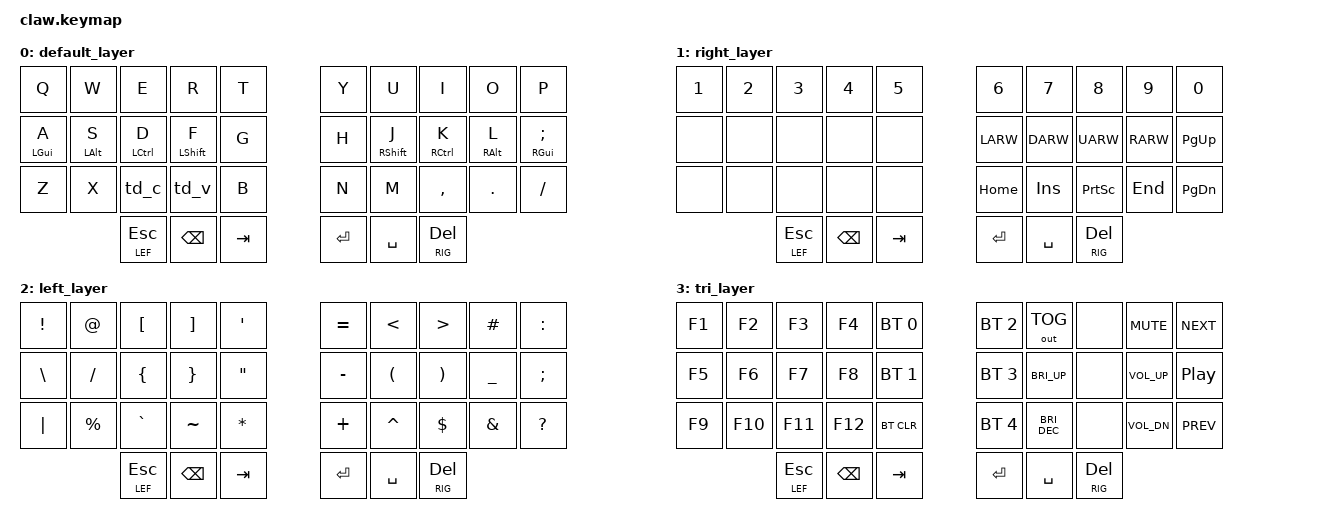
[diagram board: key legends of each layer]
#include <behaviors.dtsi>
#include <dt-bindings/zmk/keys.h>
#include <dt-bindings/zmk/bt.h>
#include <dt-bindings/zmk/outputs.h>

// Home row mods macro
#define HRMR(k1, k2, k3, k4) &mt RSHIFT k1  &mt RCTRL k2  &mt RALT k3 &mt RGUI k4

#define MAC 0
#define RIG 1
#define LEF 2
#define TRI 3

/ {
        macros {
                ma_c: ma_c {
                        #label = "MACRO_C";
                        compatible = "zmk,behavior-macro";
                        #binding-cells = <0>;
                        bindings
                            = <&macro_press &kp LCTRL>
                            , <&macro_tap &kp C>
                            , <&macro_release &kp LCTRL>
                            ;
                };
                ma_v: ma_v {
                        #label = "MACRO_V";
                        compatible = "zmk,behavior-macro";
                        #binding-cells = <0>;
                        bindings
                            = <&macro_press &kp LCTRL>
                            , <&macro_tap &kp V>
                            , <&macro_release &kp LCTRL>
                            ;
                };
	};

	behaviors {
		ht: hold_tap_balanced {
			    compatible = "zmk,behavior-hold-tap";
			    #label = "HOLD_TAP_BAL";
			    #binding-cells = <2>;
			    flavor = "tap-preferred";
			    tapping-term-ms = <200>;
			    quick-tap-ms = <100>;
			    #require-prior-idle-ms = <50>;
			    bindings = <&kp>, <&kp>;
			};
		td_c: tap_dance_c {
			    compatible = "zmk,behavior-tap-dance";
			    #binding-cells = <0>;
			    tapping-term-ms = <200>;
			    bindings = <&kp C>, <&kp C>, <&ma_c>;
			};
		td_v: tap_dance_v {
			    compatible = "zmk,behavior-tap-dance";
			    #binding-cells = <0>;
			    tapping-term-ms = <200>;
			    bindings = <&kp V>, <&kp V>, <&ma_v>;
			};
	};

	conditional_layers {
		compatible = "zmk,conditional-layers";
		tri_layer {
			if-layers = <RIG LEF>;
			then-layer = <TRI>;
		};
	};

	keymap {
		compatible = "zmk,keymap";
		default_layer {
			bindings = <
				//╭────────────────┬────────────────┬────────────────┬────────────────┬────────────────╮   ╭────────────────┬────────────────┬────────────────┬────────────────┬────────────────╮
				//│        Q       │        W       │        E       │        R       │        T       │   │        Y       │        U       │        I       │        O       │        P       │
				       &kp Q            &kp W            &kp E            &kp R            &kp T                &kp Y              &kp U            &kp I            &kp O            &kp P
				//├────────────────┼────────────────┼────────────────┼────────────────┼────────────────┤   ├────────────────┼────────────────┼────────────────┼────────────────┼────────────────┤
				//│        A       │        S       │        D       │        F       │        G       │   │        H       │        J       │        K       │        L       │        ;       │
				      &ht LGUI A       &ht LALT S      &ht LCTRL D      &ht LSHIFT F       &kp G                &kp H          &ht RSHIFT J     &ht RCTRL K       &ht RALT L     &ht RGUI SEMI
				//├────────────────┼────────────────┼────────────────┼────────────────┼────────────────┤   ├────────────────┼────────────────┼────────────────┼────────────────┼────────────────┤
				//│        Z       │        X       │        C       │        V       │        B       │   │        N       │        M       │       , <      │       . >      │       /        │
				       &kp Z            &kp X            &td_c             &td_v             &kp B                &kp N            &kp M            &kp COMMA         &kp DOT         &kp FSLH
				//╰────────────────┴────────────────┼────────────────┼────────────────┼────────────────┤   ├────────────────┼────────────────┼────────────────┼────────────────┴────────────────╯
								       &lt LEF ESC        &kp BSPC         &kp TAB            &kp ENTER         &kp SPACE        &lt RIG DEL
				//             			    ╰────────────────┴────────────────┴────────────────╯   ╰────────────────┴────────────────┴────────────────╯
				>;
		};

		right_layer {
			bindings = <
				//╭────────────────┬────────────────┬────────────────┬────────────────┬────────────────╮   ╭────────────────┬────────────────┬────────────────┬────────────────┬────────────────╮
				//│        1       │        2       │        3       │        4       │        5       │   │        6       │        7       │        8       │        9       │        0       │
				       &kp N1           &kp N2           &kp N3           &kp N4           &kp N5               &kp N6           &kp N7           &kp N8           &kp N9           &kp N0
				//├────────────────┼────────────────┼────────────────┼────────────────┼────────────────┤   ├────────────────┼────────────────┼────────────────┼────────────────┼────────────────┤
				//│                │                │                │                │                │   │      LEFT      │      DOWN      │       UP       │      RIGHT     │     PAGE UP    │
				        &none            &none            &none            &none             &none              &kp LARW         &kp DARW         &kp UARW         &kp RARW         &kp PG_UP
				//├────────────────┼────────────────┼────────────────┼────────────────┼────────────────┤   ├────────────────┼────────────────┼────────────────┼────────────────┼────────────────┤
				//│                │                │                │                │                │   │      HOME      │     INSERT     │     PRINT      │       END      │     PAGE DN    │
				       &none             &none            &none            &none             &none              &kp HOME          &kp INS        &kp PSCRN          &kp END         &kp PG_DN
				//╰────────────────┴────────────────┼────────────────┼────────────────┼────────────────┤   ├────────────────┼────────────────┼────────────────┼────────────────┴────────────────╯
								       &lt LEF ESC        &kp BSPC         &kp TAB            &kp ENTER         &kp SPACE        &lt RIG DEL
				//             			    ╰────────────────┴────────────────┴────────────────╯   ╰────────────────┴────────────────┴────────────────╯
				>;
		};

		left_layer {
			bindings = <
				//╭────────────────┬────────────────┬────────────────┬────────────────┬────────────────╮   ╭────────────────┬────────────────┬────────────────┬────────────────┬────────────────╮
				//│       !        │       @        │       [        │       ]        │       '        │   │       =        │       <        │       >        │       #        │       :        │
				       &kp EXCL         &kp AT           &kp LBKT         &kp RBKT         &kp SQT              &kp EQUAL        &kp LT           &kp GT           &kp HASH         &kp COLON
				//├────────────────┼────────────────┼────────────────┼────────────────┼────────────────┤   ├────────────────┼────────────────┼────────────────┼────────────────┼────────────────┤
				//│       \        │       /        │       {        │       }        │       "        │   │       -        │       (        │       )        │       _        │       ;        │
				       &kp BSLH         &kp FSLH         &kp LBRC         &kp RBRC         &kp DQT              &kp MINUS        &kp LPAR         &kp RPAR         &kp UNDER        &kp SEMI
				//├────────────────┼────────────────┼────────────────┼────────────────┼────────────────┤   ├────────────────┼────────────────┼────────────────┼────────────────┼────────────────┤
				//│       |        │       %        │       `        │       ~        │       *        │   │       +        │       ^        │       $        │       &        │       ?        │
				       &kp PIPE         &kp PRCNT        &kp GRAVE        &kp TILDE        &kp ASTRK            &kp PLUS         &kp CARET        &kp DLLR         &kp AMPS         &kp QMARK
				//╰────────────────┴────────────────┼────────────────┼────────────────┼────────────────┤   ├────────────────┼────────────────┼────────────────┼────────────────┴────────────────╯
								       &lt LEF ESC        &kp BSPC         &kp TAB            &kp ENTER         &kp SPACE        &lt RIG DEL
				//             			    ╰────────────────┴────────────────┴────────────────╯   ╰────────────────┴────────────────┴────────────────╯
				>;
		};

		tri_layer {
			bindings = <
				//╭────────────────┬────────────────┬────────────────┬────────────────┬────────────────╮   ╭────────────────┬────────────────┬────────────────┬────────────────┬────────────────╮
				//│       F1       │       F2       │       F3       │       F4       │   PROFILE 0    │   │    PROFILE 2   │    TOGGLEOUT   │                │    VOL MUTE    │    NEXTSONG    │
				      &kp F1           &kp F2           &kp F3           &kp F4          &bt BT_SEL 0         &bt BT_SEL 2     &out OUT_TOG        &none         &kp C_MUTE        &kp C_NEXT
				//├────────────────┼────────────────┼────────────────┼────────────────┼────────────────┤   ├────────────────┼────────────────┼────────────────┼────────────────┼────────────────┤
				//│       F5       │       F6       │       F7       │       F8       │   PROFILE 1    │   │    PROFILE 3   │   INC BRIGHT   │                │     VOL UP     │   PAUSEMUSIC   │
				      &kp F5           &kp F6           &kp F7           &kp F8          &bt BT_SEL 1         &bt BT_SEL 3     &kp C_BRI_UP        &none        &kp C_VOL_UP        &kp C_PP
				//├────────────────┼────────────────┼────────────────┼────────────────┼────────────────┤   ├────────────────┼────────────────┼────────────────┼────────────────┼────────────────┤
				//│       F9       │      F10       │      F11       │      F12       │    CLEAR BT    │   │    PROFILE 4   │   DEC BRIGHT   │                |    VOL DOWN    │    PREVSONG    │
				      &kp F9          &kp F10          &kp F11          &kp F12           &bt BT_CLR          &bt BT_SEL 4     &kp C_BRI_DEC       &none        &kp C_VOL_DN       &kp C_PREV
				//╰────────────────┴────────────────┼────────────────┼────────────────┼────────────────┤   ├────────────────┼────────────────┼────────────────┼────────────────┴────────────────╯
								       &lt LEF ESC        &kp BSPC         &kp TAB            &kp ENTER         &kp SPACE        &lt RIG DEL
				//             			    ╰────────────────┴────────────────┴────────────────╯   ╰────────────────┴────────────────┴────────────────╯
				>;
		};
	};
};
